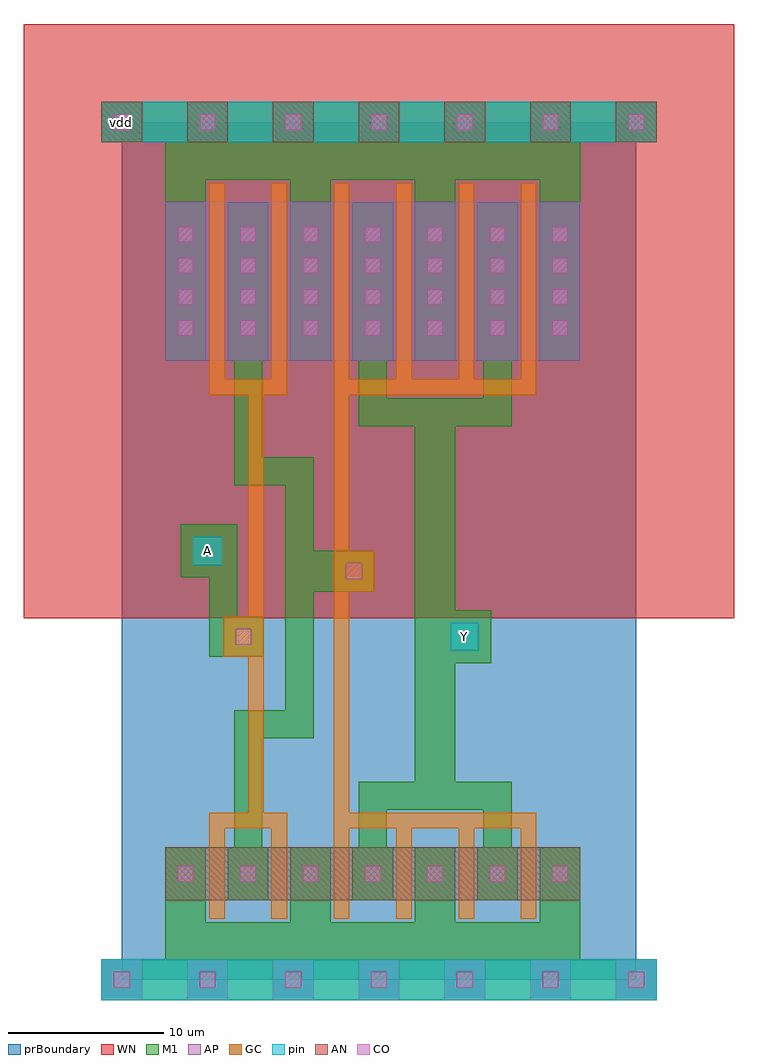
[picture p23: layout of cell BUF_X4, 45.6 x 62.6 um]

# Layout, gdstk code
import gdstk
lib = gdstk.Library(unit=1e-6, precision=1e-09)
def R(c, l, rs):  # rectangles x0, y0, x1, y1
    for r in rs: c.add(gdstk.rectangle(r[:2], r[2:], *l))
def A(c, l, x, y, w, h, nx, ny, dx, dy):  # array of equal rectangles
    R(c, l, [(x+i*dx, y+j*dy, x+i*dx+w, y+j*dy+h) for i in range(nx) for j in range(ny)])
def P(c, l, *ps):  # polygons
    for p in ps: c.add(gdstk.Polygon(p, *l))
AP = (3, 1)
AN = (3, 2)
GC = (8, 1)
CO = (11, 0)
M1 = (13, 0)
pin = (48, 1)
WN = (140, 0)
prBoundary = (235, 0)

buf_x4 = lib.new_cell('BUF_X4')
A(buf_x4, AP, -1.3, -1.3, 2.6, 2.6, 7, 1, 5.5, 0)
R(buf_x4, AP, [(2.8,39.7,29.4,49.9), (2.8,39.7,29.4,49.9)])
A(buf_x4, AN, -1.3, 53.7, 2.6, 2.6, 7, 1, 5.5, 0)
R(buf_x4, AN, [(2.8,5.1,29.4,8.5)])
P(buf_x4, GC, [(5.6,3.9),(5.6,10.7),(8.1,10.7),(8.1,20.7),(6.5,20.7),(6.5,23.3),(8.1,23.3),(8.1,37.5),(5.6,37.5),(5.6,51.1),(6.6,51.1),(6.6,38.5),(9.6,38.5),(9.6,51.1),(10.6,51.1),(10.6,37.5),(9.1,37.5),(9.1,10.7),(10.6,10.7),(10.6,3.9),(9.6,3.9),(9.6,9.7),(6.6,9.7),(6.6,3.9)],
  [(13.6,3.9),(13.6,51.1),(14.6,51.1),(14.6,38.5),(17.6,38.5),(17.6,51.1),(18.6,51.1),(18.6,38.5),(21.6,38.5),(21.6,51.1),(22.6,51.1),(22.6,38.5),(25.6,38.5),(25.6,51.1),(26.6,51.1),(26.6,37.5),(14.6,37.5),(14.6,27.5),(16.2,27.5),(16.2,24.9),(14.6,24.9),(14.6,10.7),(26.6,10.7),(26.6,3.9),(25.6,3.9),(25.6,9.7),(22.6,9.7),(22.6,3.9),(21.6,3.9),(21.6,9.7),(18.6,9.7),(18.6,3.9),(17.6,3.9),(17.6,9.7),(14.6,9.7),(14.6,3.9)])
A(buf_x4, CO, -0.5, -0.5, 1, 1, 7, 2, 5.5, 55)
A(buf_x4, CO, 3.6, 6.3, 1, 1, 3, 2, 4, 35)
A(buf_x4, CO, 11.6, 6.3, 1, 1, 5, 2, 4, 35)
A(buf_x4, CO, 3.6, 43.3, 1, 1, 3, 3, 4, 2)
A(buf_x4, CO, 11.6, 43.3, 1, 1, 5, 3, 4, 2)
R(buf_x4, CO, [(7.3,21.5,8.3,22.5), (14.4,25.7,15.4,26.7)])
P(buf_x4, M1, [(-1.3,-1.3),(-1.3,1.3),(2.8,1.3),(2.8,8.5),(5.4,8.5),(5.4,3.7),(10.8,3.7),(10.8,8.5),(13.4,8.5),(13.4,3.7),(18.8,3.7),(18.8,8.5),(21.4,8.5),(21.4,3.7),(26.8,3.7),(26.8,8.5),(29.4,8.5),(29.4,1.3),(34.3,1.3),(34.3,-1.3)],
  [(5.6,20.7),(5.6,25.8),(3.8,25.8),(3.8,29.2),(7.4,29.2),(7.4,23.3),(9.1,23.3),(9.1,20.7)],
  [(6.8,5.1),(6.8,8.5),(7.2,8.5),(7.2,17.3),(10.5,17.3),(10.5,31.7),(7.2,31.7),(7.2,39.7),(6.8,39.7),(6.8,49.9),(9.4,49.9),(9.4,39.7),(9,39.7),(9,33.5),(12.3,33.5),(12.3,27.5),(16.2,27.5),(16.2,24.9),(12.3,24.9),(12.3,15.5),(9,15.5),(9,8.5),(9.4,8.5),(9.4,5.1)],
  [(14.8,5.1),(14.8,8.5),(15.2,8.5),(15.2,12.7),(18.8,12.7),(18.8,35.5),(15.2,35.5),(15.2,39.7),(14.8,39.7),(14.8,49.9),(17.4,49.9),(17.4,39.7),(17,39.7),(17,37.3),(23.2,37.3),(23.2,39.7),(22.8,39.7),(22.8,49.9),(25.4,49.9),(25.4,39.7),(25,39.7),(25,35.5),(21.4,35.5),(21.4,23.7),(23.7,23.7),(23.7,20.3),(21.4,20.3),(21.4,12.7),(25,12.7),(25,8.5),(25.4,8.5),(25.4,5.1),(22.8,5.1),(22.8,8.5),(23.2,8.5),(23.2,10.9),(17,10.9),(17,8.5),(17.4,8.5),(17.4,5.1)],
  [(2.8,39.7),(2.8,53.7),(-1.3,53.7),(-1.3,56.3),(34.3,56.3),(34.3,53.7),(29.4,53.7),(29.4,39.7),(26.8,39.7),(26.8,51.3),(21.4,51.3),(21.4,39.7),(18.8,39.7),(18.8,51.3),(13.4,51.3),(13.4,39.7),(10.8,39.7),(10.8,51.3),(5.4,51.3),(5.4,39.7)])
R(buf_x4, pin, [(-1.3,-1.3,34.3,1.3), (21.1,21.1,22.9,22.9), (4.6,26.6,6.4,28.4), (-1.3,53.7,34.3,56.3)])
R(buf_x4, WN, [(-6.3,23.2,39.3,61.3)])
R(buf_x4, prBoundary, [(0,0,33,55)])
buf_x4.add(gdstk.Label('Y', (22,22), layer=48, texttype=0))
buf_x4.add(gdstk.Label('A', (5.5,27.5), layer=48, texttype=0))
buf_x4.add(gdstk.Label('vdd', (0,55), layer=48, texttype=0))

lib.write_gds('BUF_X4.gds')
